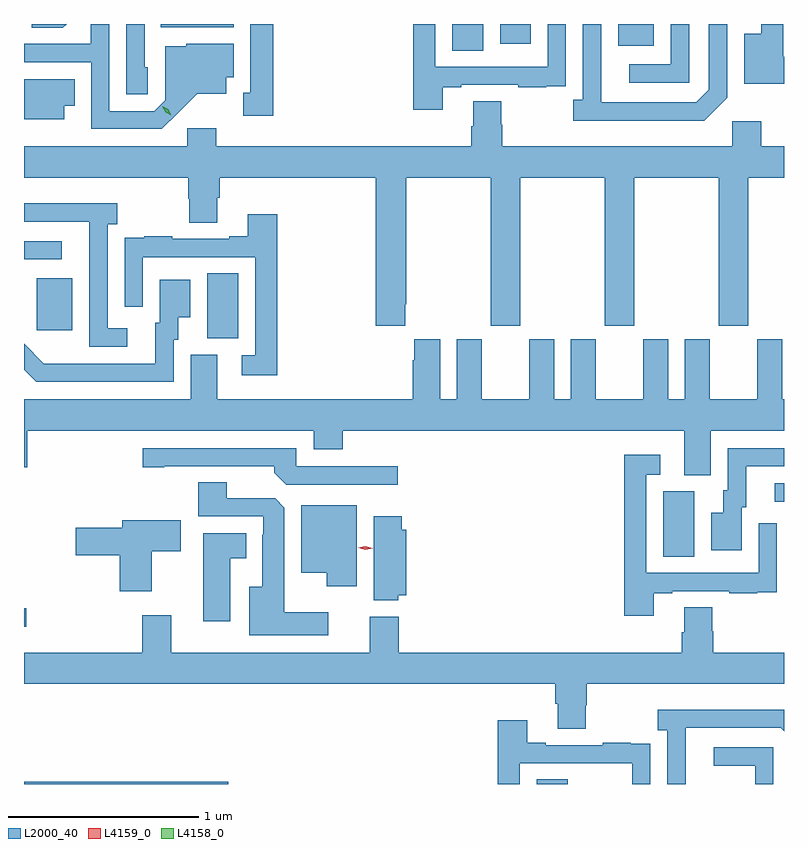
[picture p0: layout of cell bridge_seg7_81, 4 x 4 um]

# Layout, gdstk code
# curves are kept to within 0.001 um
import gdstk
lib = gdstk.Library(unit=1e-6, precision=1e-09)
def R(c, l, rs):  # rectangles x0, y0, x1, y1
    for r in rs: c.add(gdstk.rectangle(r[:2], r[2:], *l))
def P(c, l, *ps):  # polygons
    for p in ps: c.add(gdstk.Polygon(p, *l))
L2000_40 = (2000, 40)
L4158_0 = (4158, 0)
L4159_0 = (4159, 0)

bridge_seg7_81 = lib.new_cell('bridge_seg7_81')
R(bridge_seg7_81, L2000_40, [(1078.594,998.756,1079.668,998.768), (1081.292,998.756,1081.456,998.78), (1078.594,999.584,1078.606,999.681), (1081.958,999.952,1082.122,1000.296), (1082.544,1000.242,1082.594,1000.338), (1079.558,1001.101,1079.722,1001.444), (1078.661,1001.145,1078.849,1001.419), (1078.594,1001.517,1078.792,1001.613), (1080.848,1002.616,1081.012,1002.756), (1081.721,1002.641,1081.909,1002.756), (1081.1,1002.651,1081.261,1002.756), (1079.314,1002.74,1079.698,1002.756)])
P(bridge_seg7_81, L2000_40, [(1078.819,1002.756),(1078.635,1002.756),(1078.635,1002.736),(1078.799,1002.736)],
  [(1079.404,1002.287),(1079.507,1002.389),(1079.659,1002.389),(1079.659,1002.476),(1079.698,1002.476),(1079.698,1002.652),(1079.448,1002.652),(1079.448,1002.64),(1079.337,1002.64),(1079.337,1002.354),(1079.28,1002.297),(1079.043,1002.297),(1079.043,1002.756),(1078.945,1002.756),(1078.945,1002.651),(1078.594,1002.651),(1078.594,1002.555),(1078.947,1002.555),(1078.947,1002.204),(1079.32,1002.204)],
  [(1082.094,1002.756),(1081.998,1002.756),(1081.998,1002.543),(1081.779,1002.543),(1081.779,1002.447),(1082.094,1002.447)],
  [(1079.905,1002.756),(1079.786,1002.756),(1079.786,1002.393),(1079.747,1002.393),(1079.747,1002.273),(1079.905,1002.273)],
  [(1080.799,1002.423),(1080.895,1002.423),(1080.895,1002.435),(1081.195,1002.435),(1081.195,1002.423),(1081.343,1002.423),(1081.343,1002.429),(1081.445,1002.429),(1081.445,1002.538),(1081.446,1002.538),(1081.446,1002.756),(1081.35,1002.756),(1081.35,1002.531),(1080.759,1002.531),(1080.759,1002.756),(1080.643,1002.756),(1080.643,1002.306),(1080.799,1002.306)],
  [(1079.244,1002.528),(1079.229,1002.528),(1079.229,1002.756),(1079.133,1002.756),(1079.133,1002.385),(1079.244,1002.385)],
  [(1082.295,1002.369),(1082.295,1002.756),(1082.199,1002.756),(1082.199,1002.411),(1082.133,1002.345),(1081.633,1002.345),(1081.632,1002.756),(1081.536,1002.756),(1081.536,1002.358),(1081.485,1002.358),(1081.485,1002.248),(1082.174,1002.248)],
  [(1082.594,1002.584),(1082.591,1002.584),(1082.591,1002.756),(1082.474,1002.756),(1082.474,1002.706),(1082.384,1002.706),(1082.384,1002.442),(1082.594,1002.442)],
  [(1078.807,1002.326),(1078.862,1002.326),(1078.862,1002.466),(1078.594,1002.466),(1078.594,1002.254),(1078.807,1002.254)],
  [(1082.322,1002.112),(1081.112,1002.112),(1081.112,1002.225),(1081.107,1002.225),(1081.107,1002.35),(1080.959,1002.35),(1080.959,1002.218),(1080.947,1002.218),(1080.947,1002.112),(1079.606,1002.112),(1079.606,1002.208),(1079.454,1002.208),(1079.454,1002.112),(1078.594,1002.112),(1078.594,1001.948),(1079.459,1001.948),(1079.459,1001.835),(1079.464,1001.835),(1079.464,1001.71),(1079.611,1001.71),(1079.611,1001.842),(1079.624,1001.842),(1079.624,1001.948),(1080.446,1001.948),(1080.446,1001.169),(1080.601,1001.169),(1080.601,1001.281),(1080.606,1001.281),(1080.606,1001.948),(1081.051,1001.948),(1081.051,1001.169),(1081.206,1001.169),(1081.206,1001.948),(1081.651,1001.948),(1081.651,1001.169),(1081.806,1001.169),(1081.806,1001.948),(1082.251,1001.948),(1082.251,1001.169),(1082.406,1001.169),(1082.406,1001.948),(1082.594,1001.948),(1082.594,1002.112),(1082.474,1002.112),(1082.474,1002.244),(1082.322,1002.244)],
  [(1079.137,1001.154),(1079.034,1001.154),(1079.034,1001.702),(1079.086,1001.702),(1079.086,1001.812),(1078.594,1001.812),(1078.594,1001.715),(1078.937,1001.715),(1078.937,1001.515),(1078.938,1001.515),(1078.938,1001.058),(1079.137,1001.058)],
  [(1079.927,1001.755),(1079.771,1001.755),(1079.771,1001.638),(1079.675,1001.638),(1079.675,1001.625),(1079.375,1001.625),(1079.375,1001.638),(1079.227,1001.638),(1079.227,1001.631),(1079.125,1001.631),(1079.125,1001.522),(1079.124,1001.522),(1079.124,1001.268),(1079.22,1001.268),(1079.22,1001.529),(1079.811,1001.529),(1079.811,1001.013),(1079.739,1001.013),(1079.739,1000.908),(1079.927,1000.908)],
  [(1079.382,1001.094),(1079.407,1001.094),(1079.407,1001.213),(1079.47,1001.213),(1079.47,1001.41),(1079.309,1001.41),(1079.309,1001.184),(1079.285,1001.184),(1079.285,1000.968),(1078.698,1000.969),(1078.594,1001.072),(1078.594,1000.936),(1078.658,1000.872),(1079.382,1000.872)],
  [(1082.209,1000.616),(1082.594,1000.616),(1082.594,1000.78),(1082.584,1000.78),(1082.584,1001.098),(1082.453,1001.098),(1082.453,1000.78),(1082.203,1000.78),(1082.203,1001.098),(1082.072,1001.098),(1082.072,1000.78),(1081.984,1000.78),(1081.984,1001.098),(1081.853,1001.098),(1081.853,1000.78),(1081.603,1000.78),(1081.603,1001.098),(1081.472,1001.098),(1081.472,1000.78),(1081.384,1000.78),(1081.384,1001.098),(1081.253,1001.098),(1081.253,1000.78),(1081.003,1000.78),(1081.003,1001.098),(1080.872,1001.098),(1080.872,1000.78),(1080.784,1000.78),(1080.784,1001.098),(1080.647,1001.098),(1080.647,1000.985),(1080.641,1000.985),(1080.641,1000.78),(1079.611,1000.78),(1079.611,1001.016),(1079.471,1001.016),(1079.471,1000.78),(1078.594,1000.78),(1078.594,1000.422),(1078.61,1000.422),(1078.61,1000.616),(1080.119,1000.616),(1080.119,1000.517),(1080.272,1000.517),(1080.272,1000.616),(1082.069,1000.616),(1082.069,1000.381),(1082.209,1000.381)],
  [(1080.562,1000.428),(1080.027,1000.428),(1080.027,1000.524),(1079.22,1000.524),(1079.22,1000.423),(1079.332,1000.423),(1079.332,1000.428),(1079.912,1000.428),(1079.912,1000.394),(1079.973,1000.332),(1080.562,1000.332)],
  [(1082.371,1000.212),(1082.395,1000.212),(1082.395,1000.428),(1082.594,1000.428),(1082.594,1000.524),(1082.298,1000.524),(1082.298,1000.302),(1082.273,1000.302),(1082.273,1000.183),(1082.21,1000.183),(1082.21,999.987),(1082.371,999.987)],
  [(1081.909,999.759),(1082.005,999.759),(1082.005,999.771),(1082.305,999.771),(1082.305,999.759),(1082.453,999.759),(1082.453,999.765),(1082.555,999.765),(1082.555,999.874),(1082.556,999.874),(1082.556,1000.129),(1082.46,1000.129),(1082.46,999.867),(1081.869,999.867),(1081.869,1000.383),(1081.942,1000.383),(1081.942,1000.489),(1081.753,1000.489),(1081.753,999.642),(1081.909,999.642)],
  [(1080.196,999.661),(1079.965,999.661),(1079.965,1000.211),(1079.916,1000.26),(1079.662,1000.26),(1079.662,1000.343),(1079.51,1000.343),(1079.51,1000.164),(1079.853,1000.164),(1079.853,1000.067),(1079.849,1000.067),(1079.849,999.793),(1079.78,999.793),(1079.78,999.539),(1080.196,999.539)],
  [(1080.346,1000.222),(1080.053,1000.222),(1080.053,999.869),(1080.188,999.869),(1080.188,999.798),(1080.346,999.798)],
  [(1080.564,999.749),(1080.607,999.749),(1080.607,1000.093),(1080.581,1000.093),(1080.581,1000.165),(1080.434,1000.165),(1080.434,999.722),(1080.564,999.722)],
  [(1079.266,999.982),(1079.419,999.982),(1079.419,1000.144),(1079.111,1000.144),(1079.111,1000.106),(1078.866,1000.106),(1078.866,999.959),(1079.099,999.959),(1079.099,999.771),(1079.266,999.771)],
  [(1079.68,999.944),(1079.764,999.944),(1079.764,1000.075),(1079.537,1000.075),(1079.537,999.612),(1079.68,999.612)],
  [(1081.551,999.171),(1081.556,999.171),(1081.556,999.284),(1082.594,999.284),(1082.594,999.448),(1082.222,999.448),(1082.222,999.561),(1082.217,999.561),(1082.217,999.686),(1082.069,999.686),(1082.069,999.554),(1082.057,999.554),(1082.057,999.448),(1080.566,999.448),(1080.566,999.637),(1080.413,999.637),(1080.413,999.448),(1079.368,999.448),(1079.368,999.643),(1079.216,999.643),(1079.216,999.448),(1078.594,999.448),(1078.594,999.284),(1081.391,999.284),(1081.391,999.178),(1081.403,999.178),(1081.403,999.046),(1081.551,999.046)],
  [(1082.076,998.851),(1082.077,998.851),(1082.077,999.051),(1082.577,999.051),(1082.594,999.034),(1082.594,999.148),(1081.929,999.148),(1081.929,999.038),(1081.98,999.038),(1081.98,998.756),(1082.076,998.756)],
  [(1081.203,998.865),(1081.794,998.865),(1081.794,998.756),(1081.89,998.756),(1081.89,998.858),(1081.889,998.858),(1081.889,998.967),(1081.787,998.967),(1081.787,998.974),(1081.639,998.974),(1081.639,998.961),(1081.339,998.961),(1081.339,998.974),(1081.243,998.974),(1081.243,999.091),(1081.087,999.091),(1081.087,998.756),(1081.203,998.756)],
  [(1082.538,998.949),(1082.223,998.949),(1082.223,998.853),(1082.442,998.853),(1082.442,998.756),(1082.538,998.756)])
P(bridge_seg7_81, L4158_0, [(1079.369,1002.277),(1079.339,1002.292),(1079.322,1002.322),(1079.322,1002.322),(1079.322,1002.322),(1079.353,1002.307),(1079.37,1002.277),(1079.37,1002.277)])
P(bridge_seg7_81, L4159_0, [(1080.391,999.988),(1080.353,999.999),(1080.353,999.999),(1080.353,999.999),(1080.391,1000.008),(1080.429,999.998),(1080.429,999.997),(1080.429,999.997)])

lib.write_gds('bridge_seg7_81.gds')
